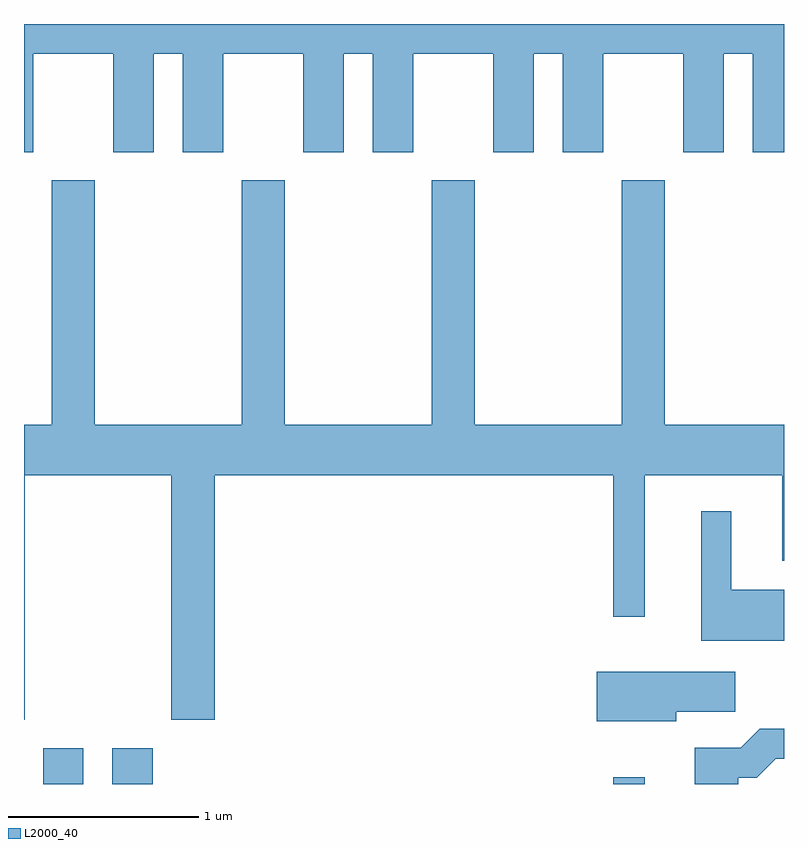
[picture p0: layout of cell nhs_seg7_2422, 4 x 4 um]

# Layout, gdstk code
import gdstk
lib = gdstk.Library(unit=1e-6, precision=1e-09)
def R(c, l, rs):  # rectangles x0, y0, x1, y1
    for r in rs: c.add(gdstk.rectangle(r[:2], r[2:], *l))
def P(c, l, *ps):  # polygons
    for p in ps: c.add(gdstk.Polygon(p, *l))
L2000_40 = (2000, 40)

nhs_seg7_2422 = lib.new_cell('nhs_seg7_2422')
R(nhs_seg7_2422, L2000_40, [(259.711,1708.252,259.924,1708.439), (260.076,1708.252,260.289,1708.439), (262.711,1708.252,262.879,1708.288)])
P(nhs_seg7_2422, L2000_40, [(259.659,1712.096),(260.081,1712.096),(260.081,1711.576),(260.294,1711.576),(260.294,1712.096),(260.446,1712.096),(260.446,1711.576),(260.659,1711.576),(260.659,1712.096),(261.081,1712.096),(261.081,1711.576),(261.294,1711.576),(261.294,1712.096),(261.446,1712.096),(261.446,1711.576),(261.659,1711.576),(261.659,1712.096),(262.081,1712.096),(262.081,1711.576),(262.294,1711.576),(262.294,1712.096),(262.446,1712.096),(262.446,1711.576),(262.659,1711.576),(262.659,1712.096),(263.081,1712.096),(263.081,1711.576),(263.294,1711.576),(263.294,1712.096),(263.446,1712.096),(263.446,1711.576),(263.611,1711.576),(263.611,1712.252),(259.611,1712.252),(259.611,1711.576),(259.659,1711.576)],
  [(259.614,1709.876),(260.386,1709.876),(260.386,1708.591),(260.614,1708.591),(260.614,1709.876),(262.711,1709.876),(262.711,1709.133),(262.879,1709.133),(262.879,1709.876),(263.601,1709.876),(263.601,1709.426),(263.611,1709.426),(263.611,1710.144),(262.984,1710.144),(262.984,1711.429),(262.756,1711.429),(262.756,1710.144),(261.984,1710.144),(261.984,1711.429),(261.756,1711.429),(261.756,1710.144),(260.984,1710.144),(260.984,1711.429),(260.756,1711.429),(260.756,1710.144),(259.984,1710.144),(259.984,1711.429),(259.756,1711.429),(259.756,1710.144),(259.611,1710.144),(259.611,1708.591),(259.614,1708.591)],
  [(263.611,1709.274),(263.334,1709.274),(263.334,1709.688),(263.176,1709.688),(263.176,1709.006),(263.611,1709.006)],
  [(263.044,1708.631),(263.354,1708.631),(263.354,1708.844),(262.626,1708.844),(262.626,1708.581),(263.044,1708.581)],
  [(263.369,1708.286),(263.467,1708.286),(263.567,1708.386),(263.611,1708.386),(263.611,1708.544),(263.484,1708.544),(263.384,1708.444),(263.141,1708.444),(263.141,1708.252),(263.369,1708.252)])

lib.write_gds('nhs_seg7_2422.gds')
